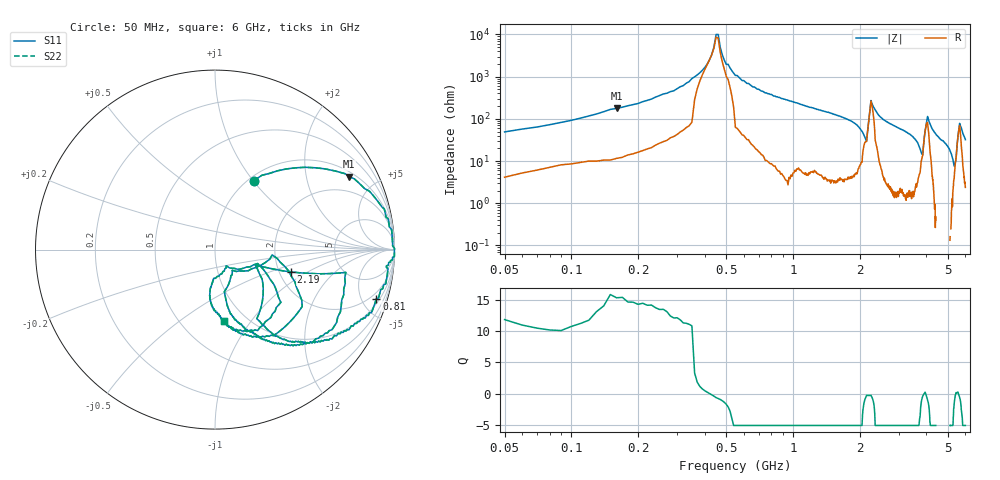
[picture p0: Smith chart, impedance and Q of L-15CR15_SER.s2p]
# MHZ S MA R 50
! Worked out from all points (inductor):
!   596 points, 50 MHz to 6 GHz, reference 50 ohm
!   read as one part in series: L = 139 nH near 70 MHz
!   highest Q = 14.4 at 160 MHz (marker M1), where L = 176 nH
!   self-resonance near 423.1 MHz
!   S11 on the Smith chart (normalised r, x): 50 MHz: 1.06, +1.01; 810 MHz: 1.37, -6.45; 2.19 GHz: 2.31, -0.71; 6 GHz: 0.79, -0.75
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50  0.44 60.7  0.87 -24.0  0.87 -24.0  0.44 60.7
160  0.85 28.6  0.48 -57.6  0.48 -57.6  0.85 28.6
360  0.99 4.9  0.1 -68.3  0.1 -68.3  0.99 4.9
450  1 -1.8  0.01 28.3  0.01 28.3  1 -1.8
570  0.97 -6.3  0.1 80.6  0.1 80.6  0.97 -6.3
810  0.94 -16.9  0.26 72.0  0.26 72.0  0.94 -16.9
1050  0.92 -24.4  0.39 63.9  0.39 63.9  0.92 -24.4
2040  0.46 -58.5  0.81 22.2  0.81 22.2  0.46 -58.5
2140  0.26 -24.5  0.78 1.8  0.78 1.8  0.26 -24.5
2190  0.44 -16.4  0.57 1.3  0.57 1.3  0.44 -16.4
2270  0.75 -14.6  0.31 12.2  0.31 12.2  0.75 -14.6
2450  0.75 -43.5  0.6 42.2  0.6 42.2  0.75 -43.5
3030  0.53 -64.0  0.81 25.6  0.81 25.6  0.53 -64.0
3610  0.34 -77.2  0.9 11.7  0.9 11.7  0.34 -77.2
3840  0.16 -53.0  0.86 -1.9  0.86 -1.9  0.16 -53.0
3940  0.31 -9.8  0.67 -11.0  0.67 -11.0  0.31 -9.8
4020  0.5 -24.8  0.53 7.4  0.53 7.4  0.5 -24.8
4190  0.56 -60.2  0.7 24.1  0.7 24.1  0.56 -60.2
5010  0.31 -93.6  0.91 6.5  0.91 6.5  0.31 -93.6
5440  0.12 -59.1  0.87 -8.1  0.87 -8.1  0.12 -59.1
5660  0.47 -41.1  0.55 1.0  0.55 1.0  0.47 -41.1
6000  0.4 -83.2  0.85 9.2  0.85 9.2  0.4 -83.2
